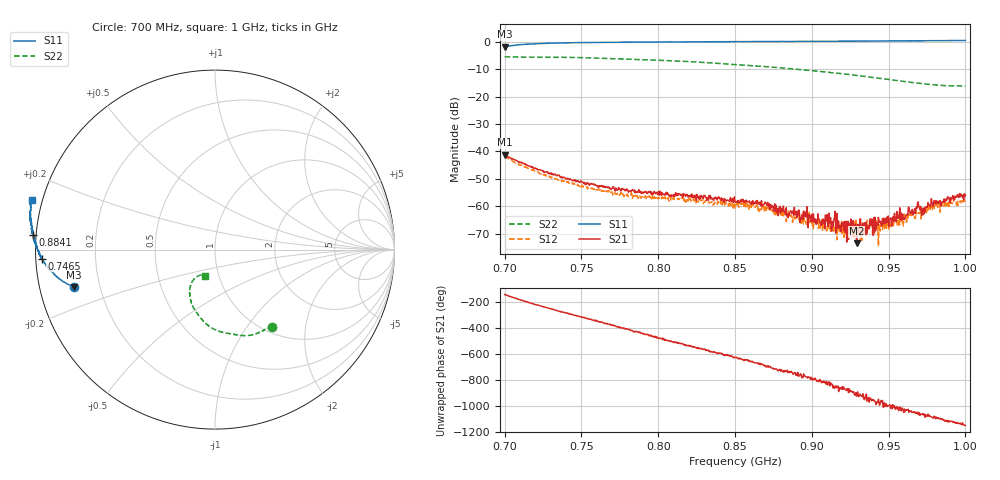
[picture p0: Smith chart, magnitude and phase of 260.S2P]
! C:\Users\rflab\Downloads\Lab5_KD_ZW\Q2\728 MHz\260.S2P
! Touchstone 1.1 file saved by VNA.EXE V1.65 (www.ke5fx.com/gpib/readme.htm)
! 11/18/2024 9:25:37 PM
!  Source: HEWLETT PACKARD,8753D,0,6.14
!  Min freq: 7.000000E+008 Hz
!  Max freq: 1.000000E+009 Hz
!  Points: 801
!  Params: S11 S21 S12 S22
# GHZ S MA R 50
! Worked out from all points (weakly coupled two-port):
!   801 points, 700 MHz to 1 GHz, reference 50 ohm
!   highest |S21| = -41.19 dB at 700 MHz (marker M1); lowest = -73.6 dB at 929.1 MHz (marker M2)
!   lowest |S11| = -1.8 dB at 700 MHz (marker M3), VSWR 9.67, Z = 5.26 - j6.52 ohm
!   |S11| at or under -10 dB: nowhere
!   |S22| runs from -16.1 to -5.4 dB; largest |S21 - S12| = 0.0028
!   S11 on the Smith chart (normalised r, x): 700 MHz: 0.11, -0.13; 746.5 MHz: 0.02, -0.03; 884.1 MHz: -0.01, +0.04; 1 GHz: -0.03, +0.13
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0.7  0.8126 -165.0  0.008721 -145.7  0.008137 -163.5  0.5341 -53.7
0.7465  0.9676 -177.0  0.002787 53.8  0.002445 32.6  0.5181 -66.9
0.75025  0.9698 -177.5  0.002798 42.1  0.002321 19.1  0.5146 -68.2
0.800125  0.9938 179.1  0.001871 -119.1  0.001365 -135.1  0.4615 -84.9
0.85  1.01 176.7  0.001204 91.5  0.000904 78.1  0.3849 -102.5
0.871  1.012 176.0  0.001115 24.9  0.000899 3.9  0.3514 -109.1
0.884125  1.018 175.3  0.000725 -7.6  0.000697 -41.0  0.3279 -113.4
0.90025  1.022 174.5  0.000717 -77.4  0.000432 -96.4  0.2975 -117.9
0.907  1.026 174.2  0.000474 -93.6  0.000351 -118.9  0.2845 -119.5
0.916  1.024 173.8  0.000453 -141.1  0.000507 -122.1  0.269 -121.7
0.922375  1.029 173.4  0.000532 -161.7  0.00053 179.2  0.2574 -122.9
0.926875  1.028 173.1  0.000546 -177.3  0.000341 146.5  0.2487 -123.8
0.929125  1.029 172.9  0.00021 153.5  0.00038 140.9  0.2442 -124.3
0.931375  1.03 172.6  0.000585 169.5  0.000295 151.6  0.2399 -124.5
0.937375  1.034 172.1  0.0004 107.3  0.000395 112.3  0.2288 -125.2
0.941875  1.035 171.8  0.000406 88.2  0.000548 91.2  0.22 -125.4
0.950125  1.042 171.2  0.000432 81.2  0.000387 57.2  0.2057 -125.5
0.959875  1.043 170.3  0.000598 28.8  0.000544 39.8  0.1897 -124.8
0.9685  1.046 169.8  0.000923 31.8  0.000713 1.8  0.1772 -123.3
0.972625  1.047 169.3  0.000884 8.5  0.000876 -5.0  0.1723 -122.2
0.977125  1.05 168.8  0.000974 -1.9  0.000889 -16.8  0.167 -121.0
1  1.058 165.0  0.00162 -71.7  0.001233 -89.9  0.1574 -110.9
